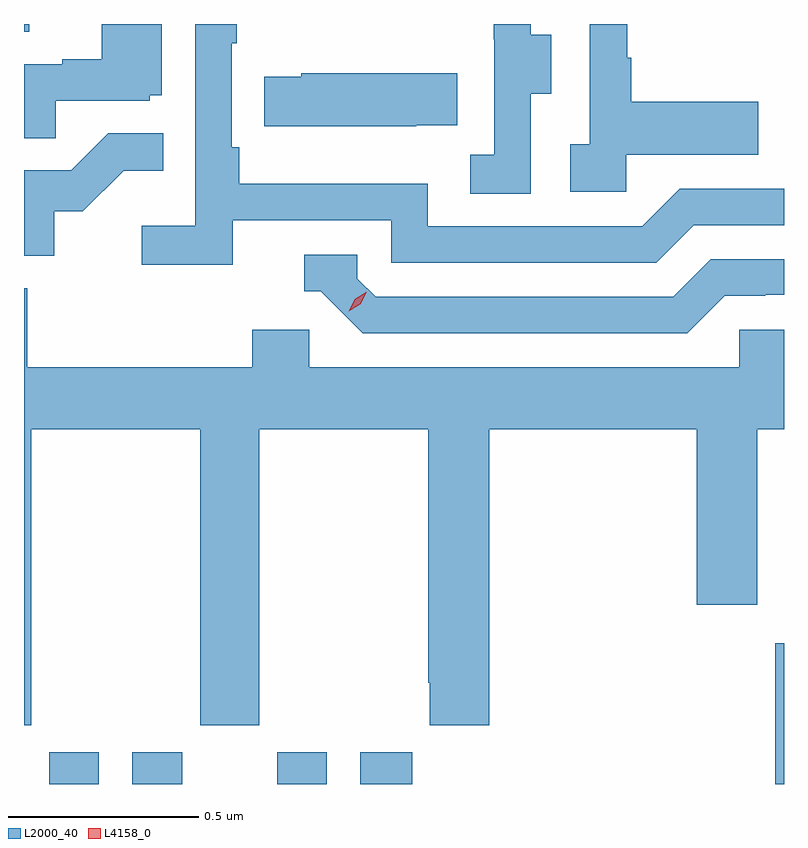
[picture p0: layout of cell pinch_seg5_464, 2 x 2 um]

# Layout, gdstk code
import gdstk
lib = gdstk.Library(unit=1e-6, precision=1e-09)
def R(c, l, rs):  # rectangles x0, y0, x1, y1
    for r in rs: c.add(gdstk.rectangle(r[:2], r[2:], *l))
def P(c, l, *ps):  # polygons
    for p in ps: c.add(gdstk.Polygon(p, *l))
L2000_40 = (2000, 40)
L4158_0 = (4158, 0)

pinch_seg5_464 = lib.new_cell('pinch_seg5_464')
R(pinch_seg5_464, L2000_40, [(933.113,857.159,933.244,857.242), (933.332,857.159,933.463,857.242), (933.713,857.159,933.844,857.242), (933.932,857.159,934.069,857.242), (935.024,857.159,935.047,857.53), (933.047,859.138,933.061,859.159)])
P(pinch_seg5_464, L2000_40, [(933.131,858.957),(933.378,858.957),(933.378,858.972),(933.409,858.972),(933.409,859.159),(933.251,859.159),(933.251,859.066),(933.147,859.066),(933.147,859.053),(933.047,859.053),(933.047,858.859),(933.131,858.859)],
  [(933.596,858.642),(934.014,858.642),(934.014,858.531),(934.711,858.531),(934.81,858.63),(935.047,858.63),(935.047,858.726),(934.773,858.726),(934.674,858.627),(934.11,858.627),(934.11,858.739),(933.614,858.739),(933.614,858.835),(933.594,858.835),(933.594,859.108),(933.607,859.108),(933.607,859.159),(933.498,859.159),(933.498,858.628),(933.357,858.628),(933.357,858.526),(933.596,858.526)],
  [(934.632,858.815),(934.979,858.815),(934.979,858.955),(934.645,858.955),(934.645,859.07),(934.635,859.07),(934.635,859.159),(934.536,859.159),(934.536,858.842),(934.485,858.842),(934.485,858.717),(934.632,858.717)],
  [(934.38,858.976),(934.435,858.976),(934.435,859.131),(934.381,859.131),(934.381,859.159),(934.283,859.159),(934.283,859.119),(934.284,859.119),(934.284,858.815),(934.221,858.815),(934.221,858.712),(934.38,858.712)],
  [(934.079,858.893),(934.187,858.893),(934.187,859.03),(933.777,859.03),(933.777,859.02),(933.679,859.02),(933.679,858.89),(934.079,858.89)],
  [(933.126,858.666),(933.202,858.666),(933.309,858.773),(933.413,858.773),(933.413,858.872),(933.269,858.872),(933.171,858.774),(933.047,858.774),(933.047,858.549),(933.126,858.549)],
  [(934.891,858.444),(934.998,858.444),(934.998,858.447),(935.047,858.447),(935.047,858.54),(934.854,858.54),(934.755,858.441),(933.972,858.441),(933.924,858.489),(933.924,858.552),(933.785,858.552),(933.785,858.456),(933.828,858.456),(933.939,858.345),(934.792,858.345)],
  [(933.066,858.092),(933.511,858.092),(933.511,857.313),(933.666,857.313),(933.666,858.092),(934.111,858.092),(934.111,857.425),(934.115,857.425),(934.115,857.313),(934.271,857.313),(934.271,858.092),(934.817,858.092),(934.817,857.631),(934.977,857.631),(934.977,858.092),(935.047,858.092),(935.047,858.354),(934.929,858.354),(934.929,858.256),(933.798,858.256),(933.798,858.354),(933.647,858.354),(933.647,858.256),(933.056,858.256),(933.056,858.464),(933.047,858.464),(933.047,857.313),(933.066,857.313)])
P(pinch_seg5_464, L4158_0, [(933.901,858.403),(933.901,858.403),(933.917,858.435),(933.949,858.455),(933.949,858.455),(933.949,858.454),(933.932,858.422),(933.901,858.403)])

lib.write_gds('pinch_seg5_464.gds')
